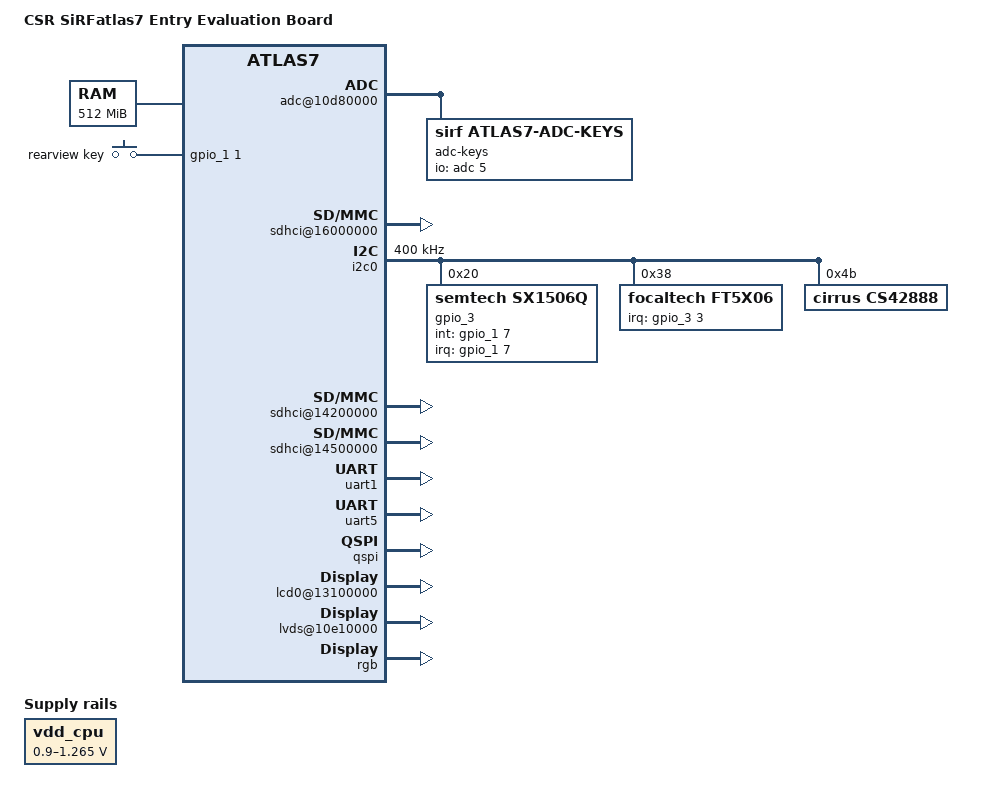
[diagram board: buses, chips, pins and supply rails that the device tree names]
/*
 * DTS file for CSR SiRFatlas7 Evaluation Board
 *
 * Copyright (c) 2012 Cambridge Silicon Radio Limited, a CSR plc group company.
 *
 * Licensed under GPLv2 or later.
 */

/dts-v1/;

/include/ "atlas7.dtsi"
#include "atlas7-amber.dtsi"
#include "atlas7-a7ca.dtsi"

#include <dt-bindings/input/input.h>

/ {
	model = "CSR SiRFatlas7 Entry Evaluation Board";
	compatible = "sirf,atlas7-cb", "sirf,atlas7";

	chosen {
		/* bootargs = "console=ttySiRF1,115200 earlyprintk lpj=7970816
				initrd=0x43008000,0x500000"; */
		bootargs = "console=ttySiRF1,115200 earlyprintk";
	};

	memory {
		device_type = "memory";
		reg = <0x40000000 0x20000000>; /* 512M for entry */
	};

	aliases {
		display0 = &rgb;
	};

	regulators {
		compatible = "simple-bus";
		#address-cells = <1>;
		#size-cells = <0>;

		reg_usb0_otg_vbus: regulator@0 {
			compatible = "regulator-fixed";
			reg = <0>;
			regulator-name = "usb0_otg_vbus";
			regulator-min-microvolt = <5000000>;
			regulator-max-microvolt = <5000000>;
			enable-active-high;
			gpio = <&gpio_0 46 0>;
			status = "disabled";
		};

		vdd_cpu: pwm_regulator  {
			compatible = "pwm-regulator";
			pinctrl-names = "default";
			pinctrl-0 = <&pw_pwm_cpu_vol_pmx0>;
			pwms = <&pwm 2 60>;
			voltage-table = <1265000 0>,
				<1196000 10>,
				<1127000 20>,
				<1058000 30>,
				<990000 40>,
				<900000 50>;
			regulator-min-microvolt = <900000>;
			regulator-max-microvolt = <1265000>;
			regulator-name = "vdd_cpu";
		};

	};

	sound-internal-audio {
		status = "disabled";
		compatible = "simple-audio-card";
		simple-audio-card,routing =
			"Headphone Jack", "LOUT0",
			"LIN0", "Line In Jack",
			"LIN1", "Line In Jack",
			"LIN2", "Line In Jack",
			"LIN3", "Line In Jack",
			"MICIN0", "Microphone Jack",
			"MICIN1", "Microphone Jack";
		simple-audio-card,widgets =
			"Microphone", "Microphone Jack",
			"Headphone", "Headphone Jack",
			"Line", "Line In Jack";
		simple-audio-card,codec {
			sound-dai = <&atlas7_codec>;
		};
		simple-audio-card,cpu {
			sound-dai = <&atlas7_iacc>;
		};
	};

	kas-pcm-audio {
		compatible = "csr,kas-pcm";
	};

	sound-kas-audio-card {
		compatible = "csr,kas-audio";
	};

	reserved-memory {
		#address-cells = <1>;
		#size-cells = <1>;
		ranges;

		/* global region for contiguous allocations */
		linux,cma {
			compatible = "shared-dma-pool";
			reusable;
			alloc-ranges = <0x4BC00000 0x4000000>;
			size = <0x4000000>;
			alignment = <0x2000>;
			linux,cma-default;
		};

		ipc_mem0: ns_m3_mem@4fd00000 {
			compatible = "sirf,reserved-memory";
			reg = <0x4FD00000 0x10000>;
		};

		ipc_mem1: ns_kal_mem@4fd10000 {
			compatible = "sirf,reserved-memory";
			reg = <0x4FD10000 0x10000>;
		};

		nanddisk_reserved: nanddisk@46000000 {
			reg = <0x46000000 0x200000>;
			no-map;
		};

		jpeg_reserved: jpeg@57000000 {
			reg = <0x57000000 0x1800000>;
			no-map;
		};

		multimedia_reserved: multimedia@58800000 {
			reg = <0x58800000 0x6000000>;
			no-map;
		};

		cm3_reserved: cm3@4fe00000 {
			reg = <0x4fe00000 0x100000>;
			no-map;
		};
	};

	sound-hdmi {
		compatible = "sirf,hdmi-card-olm";
		i2s-controller = <&i2s>;
		audio-codec = <&cs42888>;
		ext-rst = <&gpio_3 0 0>;
		sw1-sel = <&gpio_3 8 0>;
		sw2-sel = <&gpio_3 9 0>;
		sw3-sel = <&gpio_3 14 0>;	/* Don't drive if OLM */
	};

	noc {

		kalimba@10C10000 {
				status = "okay";
		};

		audiom {
			timer@10dc0000 {
				status = "okay";
			};

			timerb@10dc8000 {
				status = "disabled";
			};

			usp2: usp@10d40000 {
				status = "disabled";
				compatible = "sirf,atlas7-usp-spi";
				pinctrl-0 = <&audio_uart2_pmx0>;
				pinctrl-names = "default";
				fifosize = <512>;
				uspspiflash: mxicy@0{
					status = "okay";
					compatible = "mxicy,mx25l6405d";
					reg = <0>;
					spi-max-frequency = <37500000>;
					spi-cpha;
					spi-cpol;
					#address-cells = <1>;
					#size-cells = <1>;
					partitions@0 {
						label = "myspiboot";
						reg = <0x0 0x800000>;
					};
				};
			};

			adc@10d80000 {
				status = "okay";
				adc-keys {
					compatible = "sirf,atlas7-adc-keys";
					interrupts = <0 32 0>;
					io-channels = <&adc 5>;
					io-channel-names = "adc_keys";

					button-s2 {
						label = "Home";
						linux,code = <KEY_HOMEPAGE>;
						voltage = <1285>;
					};

					button-s7 {
						label = "Back";
						linux,code = <KEY_BACK>;
						voltage = <1215>;
					};

					button-s1 {
						label = "Volume Up";
						linux,code = <KEY_VOLUMEUP>;
						voltage = <1090>;
					};

					button-s4 {
						label = "Volume Down";
						linux,code =
							<KEY_VOLUMEDOWN>;
						voltage = <955>;
					};

					button-s5 {
						label = "Recent APP";
						linux,code = <KEY_DASHBOARD>;
						voltage = <1355>;
					};

					button-s6 {
						label = "RearView";
						linux,code = <KEY_DIRECTION>;
						voltage = <1425>;
					};
				};
			};

			pulsec@10d90000 {
				status = "disabled";
				pinctrl-names = "default";
				pinctrl-0 = <&ps_pmx>;
			};

			vip0@10db0000 {
				compatible = "sirf,atlas7-vip0", "sirf,rv-vip";
				status = "okay";
				port {
					#address-cells = <1>;
					#size-cells = <0>;
					vip0_0: endpoint@0 {
						reg = <0>;
						hsync-active = <0>;
						vsync-active = <0>;
						remote-endpoint = <&cvd_1>;
					};
				};
			};

			cvd@10db2000 {
				compatible = "sirf,cvd";
					input-number = <2>;
					inputs = <&cvbs0 &cvbs1>;
					cvbs0: cvbs@0 {
						input-name = "camera"; /* rv */
						input-id = <0>;
					};
					cvbs1: cvbs@1 {
						input-name = "dvd";
						input-id = <1>;
					};
					port {
						cvd_1: endpoint {
						remote-endpoint = <&vip0_0>;
					};
				};
			};

			analog_regulator: analog_regulator@10E30000 {
				status = "okay";
			};

			atlas7_codec: atlas7_codec@10E30000 {
				status = "okay";
			};

			atlas7_iacc: atlas7_iacc@10D01000 {
				status = "disabled";
			};

		};

		mediam {
			nand@17050000 {
				memory-region = <&nanddisk_reserved>;
			};

			multimedia@15000000 {
				memory-region = <&multimedia_reserved>;
			};

			jpeg@17000000 {
				memory-region = <&jpeg_reserved>;
			};

			sdhci@16000000 {
				pinctrl-names = "default";
				pinctrl-0 = <&sd0_pmx>;
				status = "okay";
			};

			i2c0: i2c@17020000 {
				status = "okay";
				pinctrl-names = "default";
				pinctrl-0 = <&i2c0_pmx>;
				clock-frequency = <400000>;

				gpio_3: i2c_gpio_expander@20{
					#gpio-cells = <2>;
					#interrupt-cells = <2>;
					compatible = "semtech,sx1506q";
					reg = <0x20>;
					interrupt-parent = <&gpio_1>;
					interrupts = <7 4>;
					int-gpios = <&gpio_1 7 0>;
					pulldn_ena = <0xff>;

					gpio-controller;
					interrupt-controller;
				};

				ft5x06@38{
					compatible = "focaltech,ft5x06";
					interrupt-parent = <&gpio_3>;
					interrupts = <3 0x02>;
					reg = <0x38>;
				};

				cs42888: cs42888@4B {
					compatible = "cirrus,cs42888";
					reg = <0x4B>;
					clocks = <&car 7>;
					clock-names = "mclk";
					VA-supply = <0>;
					VD-supply = <0>;
					VLS-supply = <0>;
					VLC-supply = <0>;
				};
			};
			usb0: usb@17060000 {
				vbus-supply = <&reg_usb0_otg_vbus>;
				status = "disabled";
			};
			usbphy0: usbphy@0 {
				status = "disabled";
			};
		};

		vdifm {
			sdhci@14200000 {
				status = "okay";
				pinctrl-names = "default";
				pinctrl-0 = <&sd2_pmx0>;
			};

			sdhci@14500000 {
				status = "okay";
				pinctrl-names = "default";
				pinctrl-0 = <&sd5_pmx>;
			};

		};

		sirf-backlight {
			compatible = "pwm-backlight";
			pinctrl-names = "default";
			pinctrl-0 = <&pw_backlight_pmx1>;
			pwms = <&pwm 3 50000>;
			brightness-levels = <0 32 48 56 64 96 112 128 144 160
				176 192 208 214 230 255>;
			default-brightness-level = <7>;
		};

		gnssm {
			uart1: uart@18020000 {
				status = "okay";
			};

			uart0: uart@18010000 {
				status = "disabled";
				pinctrl-0 = <&uart0_pmx>;
				pinctrl-names = "default";
				sirf,uart-has-rtscts;
						};

			uart2: uart@18030000 {
				status = "disabled";
				pinctrl-0 = <&uart2_pmx>;
				pinctrl-names = "default";
			};

			uart3: uart@18040000 {
				status = "disabled";
				pinctrl-0 = <&uart3_nopause_pmx0>;
				pinctrl-names = "default";
			};

			uart4: uart@18050000 {
				status = "disabled";
			};

			uart5: uart@18060000 {
				status = "okay";
			};

			gmac: eth@180b0000 {
				status = "disabled";
				pinctrl-names = "default";
				pinctrl-0 = <&rg_eth_mac_pmx
					&rg_gmac_phy_intr_n_pmx
					&rg_rgmii_mac_pmx>;
			};

			spi1: spi@18200000 {
				status = "disabled";
				compatible = "sirf,prima2-spi-slave";
				pinctrl-0 = <&sp1_spi_pmx>;
				pinctrl-names = "default";
				spiflash: mxicy@0{
					compatible = "mxicy,mx25l6405d";
					reg = <0>;
					spi-max-frequency = <37500000>;
					spi-cpha;
					spi-cpol;
					#address-cells = <1>;
					#size-cells = <1>;
					partitions@0 {
						label = "myspiboot";
						reg = <0x0 0x800000>;
					};
				};
			};
		};

		rtcm {
			qspi: flash@188B0000 {
				status = "okay";
				pinctrl-names = "default";
				pinctrl-0 = <&sp0_qspi_pmx>;
				clock-rate = <20000000>;        /* 20MHz */
			};
			rtc-iobg@18840000 {
				pwrc@3000 {
					gps-power {
					   status = "disabled";
					   pinctrl-names = "default";
					   pinctrl-0 = <&gn_trg_spi_pmx0 &gn_trg_pmx0>;
					};
				};
			};
		};

		ipc@13240000 {
			ns_m3_rproc@0 {
				memory-region = <&ipc_mem0>;
				status = "okay";
			};

			ns_m3_rproc@1 {
				status = "disabled";
			};

			ns_kal_rproc@0 {
				memory-region = <&ipc_mem1>;
				status = "okay";
			};

			ns_kal_rproc@1 {
				status = "disabled";
			};
		};

		disp-iobg {
			lcd0@13100000 {
				status = "okay";
				pinctrl-names = "default";
				pinctrl-0 = <&ld_ldd_pmx &ld_ldd_fck_pmx
					&ld_ldd_lck_pmx>;
			};
			lvds@10e10000 {
				status = "okay";
				pinctrl-names = "default";
				pinctrl-0 = <&lvds_analog_pmx>;
				/* set to SYN or SLAVE for lvds panel */
				lvds-mode = "SLAVE";
			};
		};

		rgb: display@0 {
			compatible = "rgb-panel";
			source = "rgb.0";
			status = "okay";

			data-lines  = <16>;

			display-timings {
				native-mode = <&timing0>;
				timing0: timing0 {
					clock-frequency = <40000000>;
					hactive = <800>;
					vactive = <480>;
					hfront-porch = <210>;
					hback-porch = <45>;
					hsync-len = <1>;
					vback-porch = <22>;
					vfront-porch = <132>;
					vsync-len = <1>;
					hsync-active = <0>;
					vsync-active = <0>;
					de-active = <1>;
					pixelclk-active = <1>;
				};
			};
		};

		lvds: display@1 {
			compatible = "lvds-panel";
			source = "lvds.0";
			status = "disabled";

			data-lines  = <24>;

			display-timings {
				native-mode = <&timing1>;
				timing1: timing1 {
					clock-frequency = <50000000>;
					hactive = <1024>;
					vactive = <600>;
					hfront-porch = <220>;
					hback-porch = <100>;
					hsync-len = <1>;
					vback-porch = <10>;
					vfront-porch = <25>;
					vsync-len = <1>;
					hsync-active = <0>;
					vsync-active = <0>;
					de-active = <1>;
					pixelclk-active = <1>;
				};
			};
		};

		gpio_keys {
			compatible = "gpio-keys";
			status = "okay";
			#address-cells = <1>;
			#size-cells = <0>;

			rearview_key {
				label = "rearview key";
				linux,code = <KEY_CAMERA>;
				gpios = <&gpio_1 1 0>;
				debounce_interval = <100>;
			};
		};

		sirf-rearview {
			compatible = "sirf,rearview";
			status = "okay";
			interrupts = <0 126 0>; /* IPC */
			reg = <0x1324020C 0x4>, /* IPC INT */
			     <0x188D001C 0x4>;  /* IPC MSG */
			mirror = <0>;
			source-std = "NTSC";		/* NTSC or PAL */
			display-panel = "display0";	/* display 0/1 */
	};
};
};
